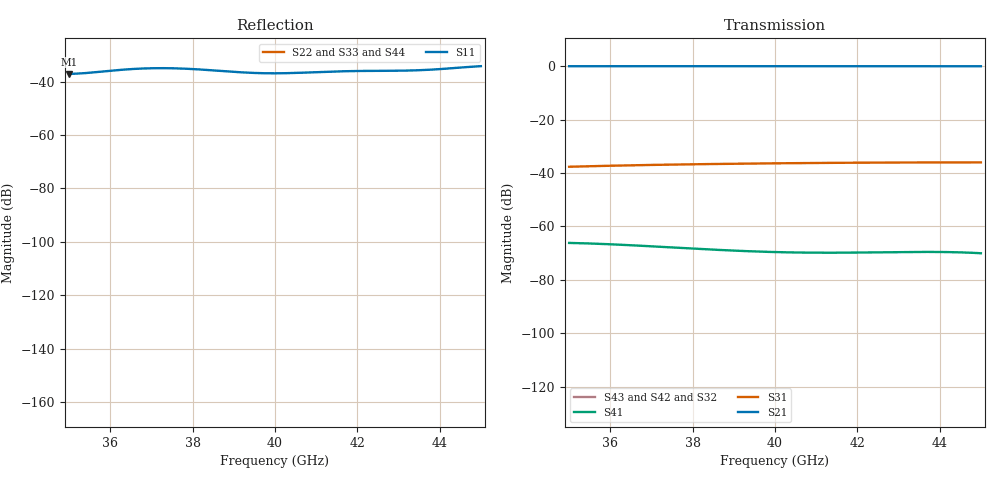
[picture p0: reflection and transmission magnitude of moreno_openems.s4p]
! Moreno cross-guide coupler, openEMS FDTD
! only column 1 (port 1 excited) and, by reciprocity, row 1 are simulated; other entries are zero
! S-parameters are normalised to each port's TE10 wave impedance (generalised
! S-matrix); 'R 50' below is only the placeholder the format requires.
! Reference planes: edges of the common a x a square.
# GHz S MA R 50
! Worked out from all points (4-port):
!   201 points, 35 GHz to 45 GHz, reference 50 ohm
!   strongest paths, dB at 35 GHz, 37.5 GHz, 40 GHz, 42.5 GHz, 45 GHz:
!     S21: 0.0, 0.0, 0.0, 0.0, 0.0
!     S31: -37.7, -36.9, -36.4, -36.1, -36.0
!     S41: -66.2, -67.9, -69.6, -69.7, -70.1
!     S43: -, -, -, -, -
!     S42: -, -, -, -, -
!     S32: -, -, -, -, -
!   lowest |S11| = -37.1 dB at 35 GHz (marker M1), VSWR 1.03, Z = 48.8 - j0.638 ohm
!   |S11| at or under -10 dB: start of sweep to end of sweep
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35  0.01392 -152.0  0.999 -159.1  0.01309 110.9  0.0004906 -68.0
    0.999 -159.1  0 0.0  0 0.0  0 0.0
    0.01309 110.9  0 0.0  0 0.0  0 0.0
    0.0004906 -68.0  0 0.0  0 0.0  0 0.0
37.15  0.01781 -76.9  1.001 178.9  0.01423 89.0  0.000418 -97.4
       1.001 178.9  0 0.0  0 0.0  0 0.0
       0.01423 89.0  0 0.0  0 0.0  0 0.0
       0.000418 -97.4  0 0.0  0 0.0  0 0.0
39.45  0.01454 -4.3  0.9994 156.9  0.01503 66.9  0.0003411 -118.7
       0.9994 156.9  0 0.0  0 0.0  0 0.0
       0.01503 66.9  0 0.0  0 0.0  0 0.0
       0.0003411 -118.7  0 0.0  0 0.0  0 0.0
40.85  0.01484 49.2  1 144.0  0.01539 54.0  0.0003225 -128.4
       1 144.0  0 0.0  0 0.0  0 0.0
       0.01539 54.0  0 0.0  0 0.0  0 0.0
       0.0003225 -128.4  0 0.0  0 0.0  0 0.0
42.35  0.01585 97.8  1 130.4  0.01565 40.4  0.0003262 -140.5
       1 130.4  0 0.0  0 0.0  0 0.0
       0.01565 40.4  0 0.0  0 0.0  0 0.0
       0.0003262 -140.5  0 0.0  0 0.0  0 0.0
43.55  0.01636 138.4  0.9994 119.6  0.01575 29.6  0.000333 -153.6
       0.9994 119.6  0 0.0  0 0.0  0 0.0
       0.01575 29.6  0 0.0  0 0.0  0 0.0
       0.000333 -153.6  0 0.0  0 0.0  0 0.0
45  0.01941 -178.6  0.9983 107.1  0.01579 17.0  0.0003144 -172.9
    0.9983 107.1  0 0.0  0 0.0  0 0.0
    0.01579 17.0  0 0.0  0 0.0  0 0.0
    0.0003144 -172.9  0 0.0  0 0.0  0 0.0
